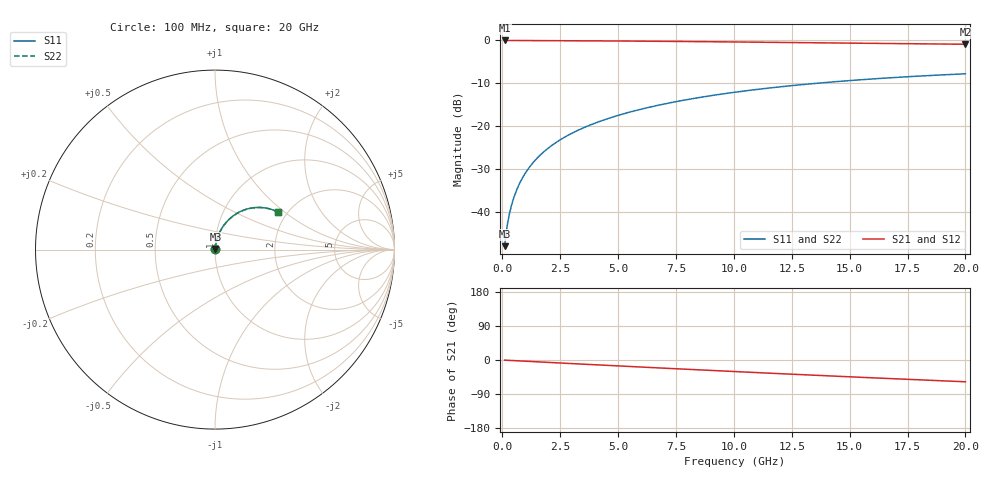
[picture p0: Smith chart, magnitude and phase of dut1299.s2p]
! Touchstone file exported from HFSS 2026.1.0
!  File:  C:/ffzhzh/LocalFiles/Ansys_Project_Files/temp_train_BSMRDL_1299_1783178146_55132.aedt
!  Generated:  11:17:11 PM Jul  4, 2026
!  Design:  BSMRDL
!  Project:  temp_train_BSMRDL_1299_1783178146_55132
! Variables:
!  h_bsmrdl = 5.8um
!  h_ox = 20um
!  h_rdl = 5um
!  h_sub = 80um
!  h_tmrdl = 5um
!  h_tsv = 80um
!  h_via = 3um
!  l_bsmrdl = 937.16um
!  l_sub = 1337.16um
!  l_tmrdl = 200um
!  m_sub = 200um
!  pitch = 49.8um
!  r_tsv = 6um
!  s_tmrdl = 10um
!  w_bsmrdl = 25.2um
!  w_sub = 500um
!  w_tmrdl = 12um
!  x_tsv_center1 = 206um
!  x_tsv_center2 = 1168.36um
!  x_tsv_center3 = 1380.36um
!  x_tsv_center4 = 2342.72um
!  x_tsv_center5 = 2554.72um
!  x_tsv_center6 = 3517.08um
# GHz S MA R 50.000000
! Terminal data exported
! Port[1] = BSM_RDL1_1_T1
! Port[2] = BSM_RDL1_1_T2
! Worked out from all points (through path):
!   200 points, 100 MHz to 20 GHz, reference 50 ohm
!   highest |S21| = -0.02 dB at 100 MHz (marker M1); lowest = -0.9 dB at 20 GHz (marker M2)
!   group delay of S21, straight-line fit = 7.98 ps
!   lowest |S11| = -48.0 dB at 100 MHz (marker M3), VSWR 1.01, Z = 50.3 + j0.311 ohm
!   |S11| at or under -10 dB: start of sweep to 13.59 GHz
!   |S22| runs from -48.0 to -7.8 dB; largest |S21 - S12| = 4.1e-15
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0.1  0.003989 50.9  0.9975 -0.3  0.9975 -0.3  0.003989 50.9
! Gamma 0 0 0 0
! Port Impedance 50 0 50 0
0.2  0.006623 65.1  0.9973 -0.7  0.9973 -0.7  0.006623 65.1
0.3  0.009312 70.9  0.9971 -1.0  0.9971 -1.0  0.009312 70.9
0.4  0.01201 74.1  0.9969 -1.3  0.9969 -1.3  0.01201 74.1
0.5  0.01473 76.1  0.9968 -1.6  0.9968 -1.6  0.01473 76.1
0.7  0.0202 78.4  0.9966 -2.3  0.9966 -2.3  0.0202 78.4
0.8  0.02295 79.0  0.9964 -2.6  0.9964 -2.6  0.02295 79.0
1  0.02847 79.7  0.9962 -3.2  0.9962 -3.2  0.02847 79.7
1.2  0.03398 80.0  0.9958 -3.8  0.9958 -3.8  0.03398 80.0
1.4  0.03948 79.9  0.9954 -4.5  0.9954 -4.5  0.03948 79.9
1.7  0.04769 79.6  0.9948 -5.4  0.9948 -5.4  0.04769 79.6
2  0.05584 79.1  0.994 -6.4  0.994 -6.4  0.05584 79.1
2.7  0.07457 77.4  0.992 -8.6  0.992 -8.6  0.07457 77.4
3.5  0.0955 75.3  0.9893 -11.0  0.9893 -11.0  0.0955 75.3
4.2  0.1134 73.4  0.9867 -13.2  0.9867 -13.2  0.1134 73.4
5  0.1334 71.1  0.9835 -15.6  0.9835 -15.6  0.1334 71.1
6.8  0.1768 66.1  0.9754 -21.0  0.9754 -21.0  0.1768 66.1
8.3  0.211 61.9  0.9678 -25.5  0.9678 -25.5  0.211 61.9
10.1  0.2497 57.0  0.9579 -30.7  0.9579 -30.7  0.2497 56.9
13.4  0.3129 48.0  0.9383 -40.0  0.9383 -40.0  0.3129 47.9
16.7  0.3656 39.3  0.9187 -48.9  0.9187 -48.9  0.3656 39.2
20  0.4076 30.9  0.9008 -57.5  0.9008 -57.5  0.4076 30.9
